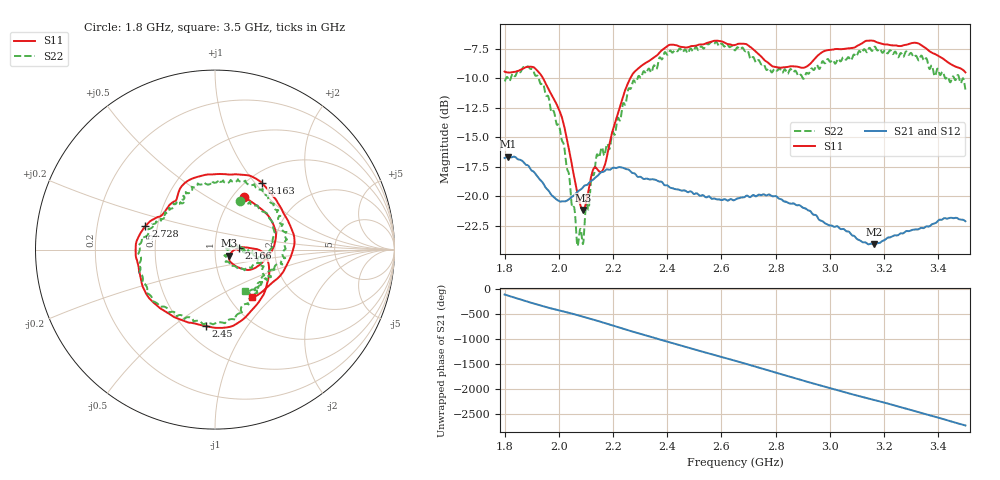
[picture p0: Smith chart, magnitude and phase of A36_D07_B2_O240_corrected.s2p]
! Created with skrf 1.9.0 (http://scikit-rf.org).
# Hz S RI R 50.0
!freq ReS11 ImS11 ReS21 ImS21 ReS12 ImS12 ReS22 ImS22
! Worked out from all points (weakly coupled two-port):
!   1601 points, 1.8 GHz to 3.5 GHz, reference 50 ohm
!   highest |S21| = -16.64 dB at 1.812 GHz (marker M1); lowest = -24.1 dB at 3.163 GHz (marker M2)
!   lowest |S11| = -21.2 dB at 2.089 GHz (marker M3), VSWR 1.19, Z = 58.6 - j3.97 ohm
!   |S11| at or under -10 dB: 1.942 GHz to 2.264 GHz (322 MHz wide, 15.3 % of centre)
!   |S22| runs from -24.2 to -6.9 dB; largest |S21 - S12| = 0.0028
!   S11 on the Smith chart (normalised r, x): 1.8 GHz: 1.13, +0.75; 2.166 GHz: 1.30, +0.02; 2.45 GHz: 0.63, -0.66; 2.728 GHz: 0.43, +0.13; 3.163 GHz: 1.16, +1.09; 3.5 GHz: 1.27, -0.75
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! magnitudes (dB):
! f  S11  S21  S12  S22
! 1.8 GHz  -9.4  -16.8  -16.8  -10.3
! 1.812 GHz  -9.5  -16.6  -16.6  -10.0
! 1.887 GHz  -9.0  -17.4  -17.5  -9.0
! 1.942 GHz  -10.0  -18.9  -18.9  -10.5
! 2.011 GHz  -13.3  -20.4  -20.4  -15.3
! 2.067 GHz  -19.5  -19.7  -19.7  -23.9
! 2.084 GHz  -21.0  -19.4  -19.3  -23.2
! 2.089 GHz  -21.2  -19.2  -19.3  -24.1
! 2.136 GHz  -17.6  -18.4  -18.4  -17.1
! 2.166 GHz  -17.6  -17.9  -17.9  -16.4
! 2.189 GHz  -15.4  -17.8  -17.8  -15.9
! 2.26 GHz  -10.2  -17.8  -17.8  -10.9
! 2.367 GHz  -7.9  -18.7  -18.7  -8.6
! 2.45 GHz  -7.3  -19.5  -19.5  -7.6
! 2.65 GHz  -7.2  -20.3  -20.3  -7.6
! 2.728 GHz  -7.8  -20.0  -20.0  -8.7
! 2.801 GHz  -9.1  -20.0  -20.0  -9.3
! 2.934 GHz  -8.6  -21.4  -21.4  -9.2
! 3.163 GHz  -6.9  -24.1  -24.0  -7.4
! 3.217 GHz  -7.2  -23.5  -23.5  -7.8
! 3.324 GHz  -7.0  -22.8  -22.8  -8.3
! 3.5 GHz  -9.5  -22.1  -22.1  -11.0
